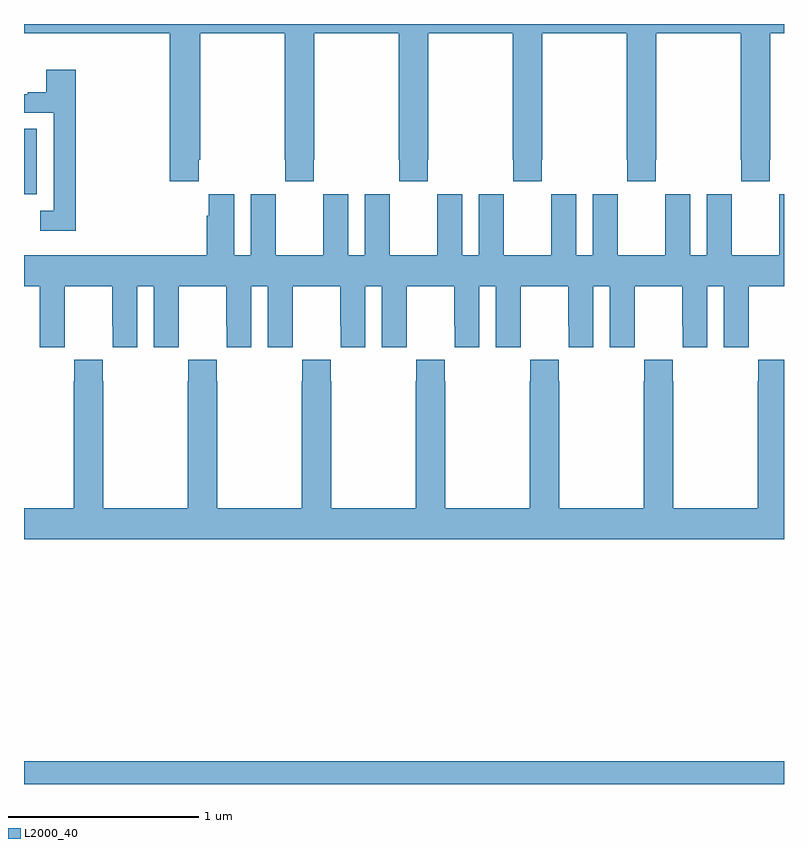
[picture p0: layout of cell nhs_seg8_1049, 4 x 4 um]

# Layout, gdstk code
import gdstk
lib = gdstk.Library(unit=1e-6, precision=1e-09)
def R(c, l, rs):  # rectangles x0, y0, x1, y1
    for r in rs: c.add(gdstk.rectangle(r[:2], r[2:], *l))
def P(c, l, *ps):  # polygons
    for p in ps: c.add(gdstk.Polygon(p, *l))
L2000_40 = (2000, 40)

nhs_seg8_1049 = lib.new_cell('nhs_seg8_1049')
R(nhs_seg8_1049, L2000_40, [(179,1093.9,183,1094.02), (179,1097.005,179.068,1097.348)])
P(nhs_seg8_1049, L2000_40, [(179,1097.852),(179.768,1097.852),(179.768,1097.073),(179.921,1097.073),(179.921,1097.185),(179.928,1097.185),(179.928,1097.852),(180.373,1097.852),(180.373,1097.185),(180.375,1097.185),(180.375,1097.073),(180.525,1097.073),(180.525,1097.185),(180.528,1097.185),(180.528,1097.852),(180.973,1097.852),(180.973,1097.185),(180.975,1097.185),(180.975,1097.073),(181.125,1097.073),(181.125,1097.185),(181.128,1097.185),(181.128,1097.852),(181.573,1097.852),(181.573,1097.185),(181.575,1097.185),(181.575,1097.073),(181.725,1097.073),(181.725,1097.185),(181.728,1097.185),(181.728,1097.852),(182.173,1097.852),(182.173,1097.185),(182.175,1097.185),(182.175,1097.073),(182.325,1097.073),(182.325,1097.185),(182.328,1097.185),(182.328,1097.852),(182.773,1097.852),(182.773,1097.185),(182.775,1097.185),(182.775,1097.073),(182.925,1097.073),(182.925,1097.185),(182.928,1097.185),(182.928,1097.852),(183,1097.852),(183,1097.9),(179,1097.9)],
  [(179.273,1097.659),(179.117,1097.659),(179.117,1097.542),(179.021,1097.542),(179.021,1097.529),(179,1097.529),(179,1097.433),(179.157,1097.433),(179.157,1096.917),(179.085,1096.917),(179.085,1096.812),(179.273,1096.812)],
  [(180.796,1096.52),(180.884,1096.52),(180.884,1096.2),(181.014,1096.2),(181.014,1096.312),(181.015,1096.312),(181.015,1096.52),(181.265,1096.52),(181.265,1096.312),(181.266,1096.312),(181.266,1096.2),(181.396,1096.2),(181.396,1096.52),(181.484,1096.52),(181.484,1096.2),(181.614,1096.2),(181.614,1096.312),(181.615,1096.312),(181.615,1096.52),(181.865,1096.52),(181.865,1096.312),(181.866,1096.312),(181.866,1096.2),(181.996,1096.2),(181.996,1096.52),(182.084,1096.52),(182.084,1096.2),(182.214,1096.2),(182.214,1096.312),(182.215,1096.312),(182.215,1096.52),(182.465,1096.52),(182.465,1096.312),(182.466,1096.312),(182.466,1096.2),(182.596,1096.2),(182.596,1096.52),(182.684,1096.52),(182.684,1096.2),(182.814,1096.2),(182.814,1096.312),(182.815,1096.312),(182.815,1096.52),(183,1096.52),(183,1097.005),(182.976,1097.005),(182.976,1096.892),(182.975,1096.892),(182.975,1096.684),(182.725,1096.684),(182.725,1096.892),(182.724,1096.892),(182.724,1097.005),(182.594,1097.005),(182.594,1096.684),(182.506,1096.684),(182.506,1097.005),(182.376,1097.005),(182.376,1096.892),(182.375,1096.892),(182.375,1096.684),(182.125,1096.684),(182.125,1096.892),(182.124,1096.892),(182.124,1097.005),(181.994,1097.005),(181.994,1096.684),(181.906,1096.684),(181.906,1097.005),(181.776,1097.005),(181.776,1096.892),(181.775,1096.892),(181.775,1096.684),(181.525,1096.684),(181.525,1096.892),(181.524,1096.892),(181.524,1097.005),(181.394,1097.005),(181.394,1096.684),(181.306,1096.684),(181.306,1097.005),(181.176,1097.005),(181.176,1096.892),(181.175,1096.892),(181.175,1096.684),(180.925,1096.684),(180.925,1096.892),(180.924,1096.892),(180.924,1097.005),(180.794,1097.005),(180.794,1096.684),(180.706,1096.684),(180.706,1097.005),(180.576,1097.005),(180.576,1096.892),(180.575,1096.892),(180.575,1096.684),(180.325,1096.684),(180.325,1096.892),(180.324,1096.892),(180.324,1097.005),(180.194,1097.005),(180.194,1096.684),(180.106,1096.684),(180.106,1097.005),(179.972,1097.005),(179.972,1096.892),(179.963,1096.892),(179.963,1096.684),(179,1096.684),(179,1096.52),(179.084,1096.52),(179.084,1096.2),(179.214,1096.2),(179.214,1096.312),(179.215,1096.312),(179.215,1096.52),(179.465,1096.52),(179.465,1096.312),(179.466,1096.312),(179.466,1096.2),(179.596,1096.2),(179.596,1096.52),(179.684,1096.52),(179.684,1096.2),(179.814,1096.2),(179.814,1096.312),(179.815,1096.312),(179.815,1096.52),(180.065,1096.52),(180.065,1096.312),(180.066,1096.312),(180.066,1096.2),(180.196,1096.2),(180.196,1096.52),(180.284,1096.52),(180.284,1096.2),(180.414,1096.2),(180.414,1096.312),(180.415,1096.312),(180.415,1096.52),(180.665,1096.52),(180.665,1096.312),(180.666,1096.312),(180.666,1096.2),(180.796,1096.2)],
  [(183,1096.132),(182.865,1096.132),(182.865,1096.019),(182.863,1096.019),(182.863,1095.352),(182.418,1095.352),(182.418,1096.019),(182.415,1096.019),(182.415,1096.132),(182.265,1096.132),(182.265,1096.019),(182.263,1096.019),(182.263,1095.352),(181.818,1095.352),(181.818,1096.019),(181.815,1096.019),(181.815,1096.132),(181.665,1096.132),(181.665,1096.019),(181.663,1096.019),(181.663,1095.352),(181.218,1095.352),(181.218,1096.019),(181.215,1096.019),(181.215,1096.132),(181.065,1096.132),(181.065,1096.019),(181.063,1096.019),(181.063,1095.352),(180.618,1095.352),(180.618,1096.019),(180.615,1096.019),(180.615,1096.132),(180.465,1096.132),(180.465,1096.019),(180.463,1096.019),(180.463,1095.352),(180.018,1095.352),(180.018,1096.019),(180.015,1096.019),(180.015,1096.132),(179.865,1096.132),(179.865,1096.019),(179.863,1096.019),(179.863,1095.352),(179.418,1095.352),(179.418,1096.019),(179.415,1096.019),(179.415,1096.132),(179.265,1096.132),(179.265,1096.019),(179.263,1096.019),(179.263,1095.352),(179,1095.352),(179,1095.188),(183,1095.188)])

lib.write_gds('nhs_seg8_1049.gds')
